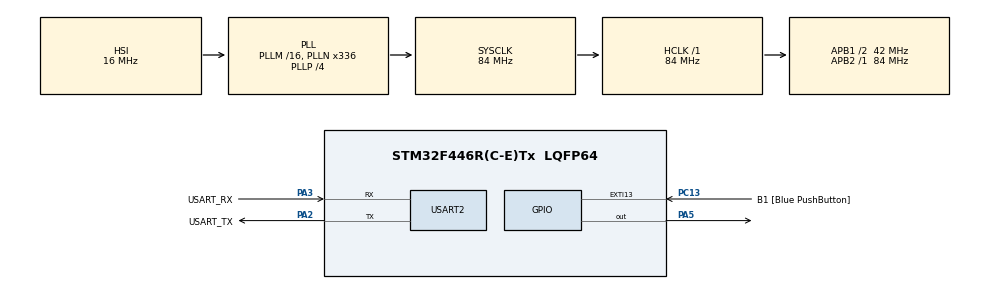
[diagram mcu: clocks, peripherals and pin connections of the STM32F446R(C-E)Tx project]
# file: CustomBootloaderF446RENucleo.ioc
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Mcu.Family=STM32F4
Mcu.Name=STM32F446R(C-E)Tx
Mcu.Package=LQFP64
NVIC.PriorityGroup=NVIC_PRIORITYGROUP_0
PA13.GPIO_Label=TMS
PA13.Mode=Serial_Wire
PA13.Signal=SYS_JTMS-SWDIO
PA14.GPIO_Label=TCK
PA14.Mode=Serial_Wire
PA14.Signal=SYS_JTCK-SWCLK
PA2.GPIO_Label=USART_TX
PA2.Mode=Asynchronous
PA2.Signal=USART2_TX
PA3.GPIO_Label=USART_RX
PA3.Mode=Asynchronous
PA3.Signal=USART2_RX
PA5.Signal=GPIO_Output
PB3.GPIO_Label=SWO
PB3.Signal=SYS_JTDO-SWO
PC13.GPIO_Label=B1 [Blue PushButton]
PC13.GPIO_ModeDefaultEXTI=GPIO_MODE_IT_FALLING
PC13.Signal=GPXTI13
PC14-OSC32_IN.Mode=LSE-External-Oscillator
PC14-OSC32_IN.Signal=RCC_OSC32_IN
PC15-OSC32_OUT.Mode=LSE-External-Oscillator
PC15-OSC32_OUT.Signal=RCC_OSC32_OUT
PH0-OSC_IN.Mode=HSE-External-Oscillator
PH0-OSC_IN.Signal=RCC_OSC_IN
PH1-OSC_OUT.Mode=HSE-External-Oscillator
PH1-OSC_OUT.Signal=RCC_OSC_OUT
ProjectManager.HeapSize=0x200
ProjectManager.StackSize=0x400
ProjectManager.TargetToolchain=STM32CubeIDE
RCC.48MHZClocksFreq_Value=84000000
RCC.AHBFreq_Value=84000000
RCC.APB1CLKDivider=RCC_HCLK_DIV2
RCC.APB1Freq_Value=42000000
RCC.APB1TimFreq_Value=84000000
RCC.APB2Freq_Value=84000000
RCC.APB2TimFreq_Value=84000000
RCC.CortexFreq_Value=84000000
RCC.FLatency-AdvancedSettings=FLASH_LATENCY_2
RCC.HCLKFreq_Value=84000000
RCC.HSE_VALUE=8000000
RCC.HSI_VALUE=16000000
RCC.PLLN=336
RCC.PLLP=RCC_PLLP_DIV4
RCC.SYSCLKFreq_VALUE=84000000
RCC.SYSCLKSource=RCC_SYSCLKSOURCE_PLLCLK
RCC.USBFreq_Value=168000000
RCC.VCOOutputFreq_Value=336000000
USART2.VirtualMode=VM_ASYNC
board=NUCLEO-F446RE

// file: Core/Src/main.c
/* USER CODE BEGIN Header */
/**
  ******************************************************************************
  * @file           : main.c
  * @brief          : Main program body
  ******************************************************************************
  * @attention
  *
  * Copyright (c) 2026 STMicroelectronics.
  * All rights reserved.
  *
  * This software is licensed under terms that can be found in the LICENSE file
  * in the root directory of this software component.
  * If no LICENSE file comes with this software, it is provided AS-IS.
  *
  ******************************************************************************
  */
/* USER CODE END Header */
#include "main.h"

/* USER CODE BEGIN Includes */
#include<stdio.h>
#include<string.h>
//#define IAP_DEMO 1
/* USER CODE END Includes */

/* USER CODE BEGIN PTD */

//#if IAP_DEMO
typedef void (*pFunction)(void);
//#endif
/* USER CODE END PTD */

/* USER CODE BEGIN PD */
//#if IAP_DEMO
#define FLASH_APP_ADDR 0x8008000
//#endif
/* USER CODE END PD */

/* USER CODE BEGIN PM */
typedef void(*ptrF) (uint32_t dlyticks);
typedef void(*pFunction) (void);
/* USER CODE END PM */

UART_HandleTypeDef huart2;

/* USER CODE BEGIN PV */
unsigned char __attribute__((section(".myBufSectionRAM"))) buf_ram[128];
__attribute__((section(".myBufSectionFLASH")))
volatile uint8_t buf_flash[10] = { 0,1,2,3,4,5,6,7,8,9 };

uint8_t __attribute__((section(".myBufSectionFLASH"))) myFlashBuffer[256];

#define LED_GREEN_Pin GPIO_PIN_5
#define LED_GREEN_GPIO_Port GPIOA

/* USER CODE END PV */

void SystemClock_Config(void);
static void MX_GPIO_Init(void);
static void MX_USART2_UART_Init(void);
void go2APP(void);
/* USER CODE BEGIN PFP */
void blink(uint32_t dlyticks){
	HAL_GPIO_TogglePin(LED_GREEN_GPIO_Port,LED_GREEN_Pin);
	HAL_Delay(dlyticks);
}

static ptrF functions[]={
		blink
};
//#if IAP_DEMO
void go2APP(void);
//#endif
/* USER CODE END PFP */

/* USER CODE BEGIN 0 */

void __attribute__ ((__section__(".RamFunc"))) TurnOnLED(GPIO_PinState PinState){
	if(PinState != GPIO_PIN_RESET){
		LED_GREEN_GPIO_Port->BSRR= (uint32_t) LED_GREEN_Pin;
	}
	else{
		LED_GREEN_GPIO_Port->BSRR= (uint32_t) LED_GREEN_Pin << 16;
	}
}

typedef void (*pFunction)(void);

void go2APP(void) {
    // Define the start address of your application in Flash
    // (Make sure this matches where your user application is linked, e.g., 0x08008000 or 0x08010000)
    uint32_t app_address = 0x08008000;

    // 1. Check if a valid stack pointer exists at the application address (must be in RAM 0x20000000)
    uint32_t msp = *(__IO uint32_t*)app_address;
    if ((msp >= 0x20000000) && (msp <= 0x20020000)) {

        // 2. Get the Reset Handler entry address from the vector table (+4 offset)
        uint32_t jump_address = *(__IO uint32_t*)(app_address + 4);
        pFunction jump_to_application = (pFunction)jump_address;

        // 3. Disable all active interrupts and de-initialize HAL/Peripherals
        HAL_RCC_DeInit();
        HAL_DeInit();

        // Disable global interrupts
        __disable_irq();

        // 4. Set the Main Stack Pointer (MSP) to the application's stack value
        __set_MSP(*(__IO uint32_t*)app_address);

        // 5. Jump to the application's Reset Handler
        jump_to_application();
    }
}

int __write(int file, char *ptr, int len){
	int DataIdx;

	for(DataIdx=0;DataIdx<len;DataIdx++){
		HAL_UART_Transmit(&huart2, (uint8_t *) ptr++, 1, 100);
	}
	return len;
}
/* USER CODE END 0 */

int main(void)
{

  /* MCU Configuration--------------------------------------------------------*/

  /* Reset of all peripherals, Initializes the Flash interface and the Systick. */
  HAL_Init();

  /* Configure the system clock */
  SystemClock_Config();

  /* Initialize all configured peripherals */
  MX_GPIO_Init();
  MX_USART2_UART_Init();
  /* USER CODE BEGIN 2 */
//	#if IAP_DEMO
  	  printf("IAP DEMO BOOT\r\n");
//	#endif

    	char *msg = "Bootloader Started!\r\n";
    	HAL_UART_Transmit(&huart2, (uint8_t*)msg, strlen(msg), 100);

    	char *prompt_msg = "Press and hold Blue Button (B1) to enter Bootloader mode. Booting app in 3s...\r\n";
    	HAL_UART_Transmit(&huart2, (uint8_t*)prompt_msg, strlen(prompt_msg), HAL_MAX_DELAY);

    	uint32_t  start_tick=HAL_GetTick();
    	uint8_t stay_in_bootloader=0;

    	while(HAL_GetTick()-start_tick<3000){
    		// Check if B1 button is pressed (Nucleo button pulls pin to GND / GPIO_PIN_RESET when pressed)
    		      if (HAL_GPIO_ReadPin(B1_GPIO_Port, B1_Pin) == GPIO_PIN_RESET)
    		      {
    		          stay_in_bootloader = 1;
    		          break;
    		      }
    	}
    	if (stay_in_bootloader)
    	  {
    	      char *stay_msg = "-> Bootloader Mode Active (Type 'help' for commands).\r\n > ";
    	      HAL_UART_Transmit(&huart2, (uint8_t*)stay_msg, strlen(stay_msg), HAL_MAX_DELAY);

    	      char cmd_buffer[32];
    	      memset(cmd_buffer, 0, sizeof(cmd_buffer));
    	      uint8_t idx = 0;

    	      while (1)
    	      {
    	          uint8_t rx_byte;
    	          // Wait for a character from UART (with a short timeout so we can still do background tasks if needed)
    	          if (HAL_UART_Receive(&huart2, &rx_byte, 1, 100) == HAL_OK)
    	          {
    	              // Echo the character back so you can see what you're typing
    	              HAL_UART_Transmit(&huart2, &rx_byte, 1, HAL_MAX_DELAY);

    	              // Handle Backspace / Delete
    	              if (rx_byte == '\b' || rx_byte == 127)
    	              {
    	                  if (idx > 0)
    	                  {
    	                      idx--;
    	                      cmd_buffer[idx] = '\0';
    	                  }
    	              }
    	              // Handle Enter (Carriage Return or Line Feed)
    	              else if (rx_byte == '\r' || rx_byte == '\n')
    	              {
    	                  char *newline = "\r\n";
    	                  HAL_UART_Transmit(&huart2, (uint8_t*)newline, strlen(newline), HAL_MAX_DELAY);

    	                  // Null-terminate the string
    	                  cmd_buffer[idx] = '\0';

    	                  // --- PARSE COMMANDS ---
    	                  if (strcmp(cmd_buffer, "help") == 0 || strcmp(cmd_buffer, "?") == 0)
    	                  {
    	                      char *help_text = "Available commands:\r\n"
    	                                        "  help     - Show this help menu\r\n"
    	                                        "  version  - Display bootloader version\r\n"
    	                                        "  jump     - Jump to user application\r\n"
    	                                        "  erase    - Erase application sector (stub)\r\n";
    	                      HAL_UART_Transmit(&huart2, (uint8_t*)help_text, strlen(help_text), HAL_MAX_DELAY);
    	                  }
    	                  else if (strcmp(cmd_buffer, "version") == 0)
    	                  {
    	                      char *ver_text = "STM32F446RE Custom Bootloader v1.0\r\n";
    	                      HAL_UART_Transmit(&huart2, (uint8_t*)ver_text, strlen(ver_text), HAL_MAX_DELAY);
    	                  }
    	                  else if (strcmp(cmd_buffer, "jump") == 0)
    	                  {
    	                      char *jump_text = "Attempting manual jump to application...\r\n";
    	                      HAL_UART_Transmit(&huart2, (uint8_t*)jump_text, strlen(jump_text), HAL_MAX_DELAY);
    	                      go2APP();
    	                      char *fail_text = "Jump failed: No valid application found at 0x08008000.\r\n";
    	                      HAL_UART_Transmit(&huart2, (uint8_t*)fail_text, strlen(fail_text), HAL_MAX_DELAY);
    	                  }
    	                  else if (strcmp(cmd_buffer, "erase") == 0)
    	                  {
    	                      char *erase_text = "Flash erase routine not yet implemented.\r\n";
    	                      HAL_UART_Transmit(&huart2, (uint8_t*)erase_text, strlen(erase_text), HAL_MAX_DELAY);
    	                  }
    	                  else if (strlen(cmd_buffer) > 0)
    	                  {
    	                      char *err_text = "Unknown command. Type 'help' for options.\r\n";
    	                      HAL_UART_Transmit(&huart2, (uint8_t*)err_text, strlen(err_text), HAL_MAX_DELAY);
    	                  }

    	                  // Reset buffer for the next command
    	                  memset(cmd_buffer, 0, sizeof(cmd_buffer));
    	                  idx = 0;

    	                  char *prompt = " > ";
    	                  HAL_UART_Transmit(&huart2, (uint8_t*)prompt, strlen(prompt), HAL_MAX_DELAY);
    	              }
    	              else
    	              {
    	                  // Append character to buffer if there's space
    	                  if (idx < sizeof(cmd_buffer) - 1)
    	                  {
    	                      cmd_buffer[idx++] = rx_byte;
    	                  }
    	              }
    	          }
    	      }
    	  }
  /* USER CODE END 2 */

  /* Infinite loop */
  while (1)
  {
	  (*functions[0]) (1000);
	  HAL_Delay(500);
	  (*functions[0]) (1000);
    /* USER CODE BEGIN 3 */
//	#if IAP_DEMO
  	  printf("IAP DEMO BOOT\r\n");
//	#endif
//  	go2APP();
  }
  /* USER CODE END 3 */
}

void SystemClock_Config(void)
{
  RCC_OscInitTypeDef RCC_OscInitStruct = {0};
  RCC_ClkInitTypeDef RCC_ClkInitStruct = {0};

  /** Configure the main internal regulator output voltage
  */
  __HAL_RCC_PWR_CLK_ENABLE();
  __HAL_PWR_VOLTAGESCALING_CONFIG(PWR_REGULATOR_VOLTAGE_SCALE3);

  /** Initializes the RCC Oscillators according to the specified parameters
  * in the RCC_OscInitTypeDef structure.
  */
  RCC_OscInitStruct.OscillatorType = RCC_OSCILLATORTYPE_HSI;
  RCC_OscInitStruct.HSIState = RCC_HSI_ON;
  RCC_OscInitStruct.HSICalibrationValue = RCC_HSICALIBRATION_DEFAULT;
  RCC_OscInitStruct.PLL.PLLState = RCC_PLL_ON;
  RCC_OscInitStruct.PLL.PLLSource = RCC_PLLSOURCE_HSI;
  RCC_OscInitStruct.PLL.PLLM = 16;
  RCC_OscInitStruct.PLL.PLLN = 336;
  RCC_OscInitStruct.PLL.PLLP = RCC_PLLP_DIV4;
  RCC_OscInitStruct.PLL.PLLQ = 2;
  RCC_OscInitStruct.PLL.PLLR = 2;
  if (HAL_RCC_OscConfig(&RCC_OscInitStruct) != HAL_OK)
  {
    Error_Handler();
  }

  /** Initializes the CPU, AHB and APB buses clocks
  */
  RCC_ClkInitStruct.ClockType = RCC_CLOCKTYPE_HCLK|RCC_CLOCKTYPE_SYSCLK
                              |RCC_CLOCKTYPE_PCLK1|RCC_CLOCKTYPE_PCLK2;
  RCC_ClkInitStruct.SYSCLKSource = RCC_SYSCLKSOURCE_PLLCLK;
  RCC_ClkInitStruct.AHBCLKDivider = RCC_SYSCLK_DIV1;
  RCC_ClkInitStruct.APB1CLKDivider = RCC_HCLK_DIV2;
  RCC_ClkInitStruct.APB2CLKDivider = RCC_HCLK_DIV1;

  if (HAL_RCC_ClockConfig(&RCC_ClkInitStruct, FLASH_LATENCY_2) != HAL_OK)
  {
    Error_Handler();
  }
}

static void MX_USART2_UART_Init(void)
{

  huart2.Instance = USART2;
  huart2.Init.BaudRate = 115200;
  huart2.Init.WordLength = UART_WORDLENGTH_8B;
  huart2.Init.StopBits = UART_STOPBITS_1;
  huart2.Init.Parity = UART_PARITY_NONE;
  huart2.Init.Mode = UART_MODE_TX_RX;
  huart2.Init.HwFlowCtl = UART_HWCONTROL_NONE;
  huart2.Init.OverSampling = UART_OVERSAMPLING_16;
  if (HAL_UART_Init(&huart2) != HAL_OK)
  {
    Error_Handler();
  }

}

static void MX_GPIO_Init(void)
{
  GPIO_InitTypeDef GPIO_InitStruct = {0};

  /* GPIO Ports Clock Enable */
  __HAL_RCC_GPIOC_CLK_ENABLE();
  __HAL_RCC_GPIOH_CLK_ENABLE();
  __HAL_RCC_GPIOA_CLK_ENABLE();
  __HAL_RCC_GPIOB_CLK_ENABLE();

  /*Configure GPIO pin Output Level */
  HAL_GPIO_WritePin(GPIOA, GPIO_PIN_5, GPIO_PIN_RESET);

  /*Configure GPIO pin : B1_Pin */
  GPIO_InitStruct.Pin = B1_Pin;
  GPIO_InitStruct.Mode = GPIO_MODE_IT_FALLING;
  GPIO_InitStruct.Pull = GPIO_NOPULL;
  HAL_GPIO_Init(B1_GPIO_Port, &GPIO_InitStruct);

  /*Configure GPIO pin : PA5 */
  GPIO_InitStruct.Pin = GPIO_PIN_5;
  GPIO_InitStruct.Mode = GPIO_MODE_OUTPUT_PP;
  GPIO_InitStruct.Pull = GPIO_NOPULL;
  GPIO_InitStruct.Speed = GPIO_SPEED_FREQ_LOW;
  HAL_GPIO_Init(GPIOA, &GPIO_InitStruct);

}

void Error_Handler(void)
{
  __disable_irq();
  while (1)
  {
  }
}
